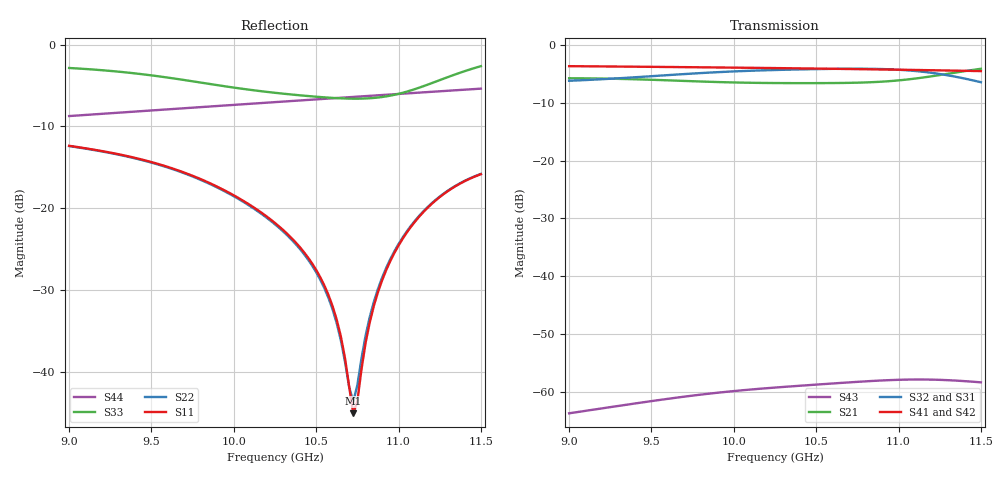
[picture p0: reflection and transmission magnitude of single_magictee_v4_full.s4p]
! Generated from PyAEDT SolutionData; AEDT ExportNetworkData workaround
# GHz S MA R 50
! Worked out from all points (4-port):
!   101 points, 9 GHz to 11.5 GHz, reference 50 ohm
!   strongest paths, dB at 9 GHz, 9.625 GHz, 10.25 GHz, 10.88 GHz, 11.5 GHz:
!     S41: -3.6, -3.8, -4.0, -4.2, -4.5
!     S42: -3.6, -3.8, -4.0, -4.2, -4.5
!     S32: -6.2, -5.1, -4.3, -4.1, -6.4
!     S31: -6.2, -5.1, -4.3, -4.1, -6.4
!     S21: -5.7, -6.1, -6.6, -6.4, -4.1
!     S43: -63.8, -61.2, -59.3, -58.1, -58.4
!   lowest |S11| = -45.0 dB at 10.72 GHz (marker M1), VSWR 1.01, Z = 49.5 - j0.319 ohm
!   |S11| at or under -10 dB: start of sweep to end of sweep
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9  0.2407 142.1  0.5172 -178.2  0.4913 -93.1  0.6581 46.0
   0.5172 -178.2  0.2397 142.5  0.4918 -93.1  0.6582 -133.9
   0.4913 -93.1  0.4918 -93.1  0.7189 -175.8  0.0006488 6.9
   0.6581 46.0  0.6582 -133.9  0.0006488 6.9  0.3657 -114.5
9.425  0.2003 89.0  0.5055 134.1  0.5299 -166.6  0.6508 -2.4
       0.5055 134.1  0.1989 89.2  0.5303 -166.6  0.6509 177.7
       0.5299 -166.6  0.5303 -166.6  0.6618 85.0  0.0007986 -79.5
       0.6508 -2.4  0.6509 177.7  0.0007986 -79.5  0.391 -160.1
10.025  0.116 13.2  0.4748 73.4  0.5944 87.6  0.6386 -68.0
        0.4748 73.4  0.1145 13.1  0.5948 87.7  0.6385 112.2
        0.5944 87.6  0.5948 87.7  0.5413 -67.5  0.001019 157.1
        0.6386 -68.0  0.6385 112.2  0.001019 157.1  0.4295 137.3
10.4  0.05802 -32.9  0.4693 39.0  0.6163 20.3  0.6298 -107.7
      0.4693 39.0  0.05662 -33.8  0.6167 20.4  0.6294 72.4
      0.6163 20.3  0.6167 20.4  0.4897 -171.9  0.001124 80.4
      0.6298 -107.7  0.6294 72.4  0.001124 80.4  0.4552 98.8
10.725  0.005595 -144.8  0.4727 11.0  0.625 -39.1  0.6212 -141.6
        0.4727 11.0  0.006589 -158.1  0.6256 -39.1  0.6206 38.5
        0.625 -39.1  0.6256 -39.1  0.4669 91.0  0.001209 14.4
        0.6212 -141.6  0.6206 38.5  0.001209 14.4  0.4785 65.7
11.075  0.07699 65.3  0.5088 -16.7  0.6017 -106.3  0.6109 -177.7
        0.5088 -16.7  0.07808 66.4  0.6024 -106.2  0.6101 2.5
        0.6017 -106.3  0.6024 -106.2  0.5245 -24.2  0.001272 -58.0
        0.6109 -177.7  0.6101 2.5  0.001272 -58.0  0.5046 30.2
11.5  0.1615 -5.2  0.6247 -55.8  0.4773 171.8  0.5966 138.8
      0.6247 -55.8  0.162 -4.6  0.4779 171.9  0.5959 -41.0
      0.4773 171.8  0.4779 171.9  0.7374 -150.3  0.001203 -144.9
      0.5966 138.8  0.5959 -41.0  0.001203 -144.9  0.5376 -12.8
